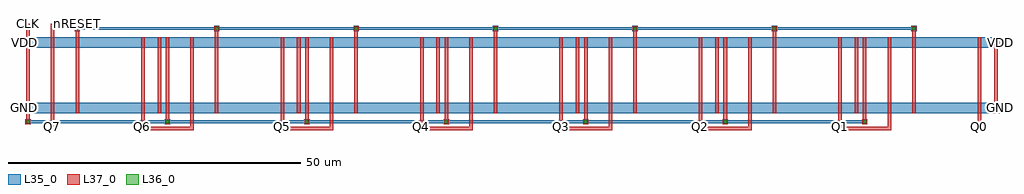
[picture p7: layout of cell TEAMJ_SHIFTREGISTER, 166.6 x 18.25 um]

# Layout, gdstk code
import gdstk
lib = gdstk.Library(unit=1e-6, precision=1e-09)
def R(c, l, rs):  # rectangles x0, y0, x1, y1
    for r in rs: c.add(gdstk.rectangle(r[:2], r[2:], *l))
def A(c, l, x, y, w, h, nx, ny, dx, dy):  # array of equal rectangles
    R(c, l, [(x+i*dx, y+j*dy, x+i*dx+w, y+j*dy+h) for i in range(nx) for j in range(ny)])
L35_0 = (35, 0)
L36_0 = (36, 0)
L37_0 = (37, 0)

via1 = lib.new_cell('VIA1')
R(via1, L35_0, [(-0.45,-0.45,0.45,0.45)])
R(via1, L36_0, [(-0.25,-0.25,0.25,0.25)])
R(via1, L37_0, [(-0.4,-0.4,0.4,0.4)])

dfc1_h = lib.new_cell('DFC1_H')
R(dfc1_h, L35_0, [(0,0,23.8,1.8), (0,11.2,23.8,13)])
dfc1_h.add(gdstk.FlexPath([(23.1,13),(23.1,0)], 0.6, ends="flush", simple_path=True, layer=37, datatype=0))  # L37_0
dfc1_h.add(gdstk.FlexPath([(20.3,0),(20.3,13)], 0.6, ends="flush", simple_path=True, layer=37, datatype=0))  # L37_0
dfc1_h.add(gdstk.FlexPath([(9.1,13),(9.1,0)], 0.6, ends="flush", simple_path=True, layer=37, datatype=0))  # L37_0
dfc1_h.add(gdstk.FlexPath([(4.9,0),(4.9,13)], 0.6, ends="flush", simple_path=True, layer=37, datatype=0))  # L37_0
dfc1_h.add(gdstk.FlexPath([(0.7,0),(0.7,13)], 0.6, ends="flush", simple_path=True, layer=37, datatype=0))  # L37_0
dfc1_h.add(gdstk.Label('DFC1', (11.9,6.5), layer=61, texttype=0))
dfc1_h.add(gdstk.Label('QN', (23.1,0), layer=37, texttype=0))
dfc1_h.add(gdstk.Label('Q', (20.3,0), layer=37, texttype=0))
dfc1_h.add(gdstk.Label('RN', (9.1,0), layer=37, texttype=0))
dfc1_h.add(gdstk.Label('D', (4.9,0), layer=37, texttype=0))
dfc1_h.add(gdstk.Label('C', (0.7,0), layer=37, texttype=0))
dfc1_h.add(gdstk.Label('QN', (23.1,13), layer=37, texttype=0))
dfc1_h.add(gdstk.Label('Q', (20.3,13), layer=37, texttype=0))
dfc1_h.add(gdstk.Label('RN', (9.1,13), layer=37, texttype=0))
dfc1_h.add(gdstk.Label('D', (4.9,13), layer=37, texttype=0))
dfc1_h.add(gdstk.Label('C', (0.7,13), layer=37, texttype=0))
dfc1_h.add(gdstk.Label('gnd', (0,0.9), layer=35, texttype=0))
dfc1_h.add(gdstk.Label('vdd', (0,12.1), layer=35, texttype=0))
dfc1_h.add(gdstk.Label('vdd', (23.8,12.1), layer=35, texttype=0))
dfc1_h.add(gdstk.Label('gnd', (23.8,0.9), layer=35, texttype=0))

teamj_shiftregister = lib.new_cell('TEAMJ_SHIFTREGISTER')
A(teamj_shiftregister, L37_0, -68.3, -8.05, 0.6, 1.05, 7, 1, 23.8, 0)
A(teamj_shiftregister, L37_0, -59.9, 6, 0.6, 1.05, 7, 1, 23.8, 0)
R(teamj_shiftregister, L37_0, [(-64.1,6,-63.5,8.3)])
teamj_shiftregister.add(gdstk.FlexPath([(74.35,-8.45),(51.45,-8.45)], 0.5, ends="flush", simple_path=True, layer=35, datatype=0))  # L35_0
teamj_shiftregister.add(gdstk.FlexPath([(50.55,-8.45),(27.65,-8.45)], 0.5, ends="flush", simple_path=True, layer=35, datatype=0))  # L35_0
teamj_shiftregister.add(gdstk.FlexPath([(26.75,-8.45),(3.85,-8.45)], 0.5, ends="flush", simple_path=True, layer=35, datatype=0))  # L35_0
teamj_shiftregister.add(gdstk.FlexPath([(2.95,-8.45),(-19.95,-8.45)], 0.5, ends="flush", simple_path=True, layer=35, datatype=0))  # L35_0
teamj_shiftregister.add(gdstk.FlexPath([(-20.85,-8.45),(-43.75,-8.45)], 0.5, ends="flush", simple_path=True, layer=35, datatype=0))  # L35_0
teamj_shiftregister.add(gdstk.FlexPath([(-44.65,-8.45),(-67.55,-8.45)], 0.5, ends="flush", simple_path=True, layer=35, datatype=0))  # L35_0
teamj_shiftregister.add(gdstk.FlexPath([(-12.45,7.45),(-35.35,7.45)], 0.5, ends="flush", simple_path=True, layer=35, datatype=0))  # L35_0
teamj_shiftregister.add(gdstk.FlexPath([(-36.25,7.45),(-59.15,7.45)], 0.5, ends="flush", simple_path=True, layer=35, datatype=0))  # L35_0
teamj_shiftregister.add(gdstk.FlexPath([(82.75,7.45),(59.85,7.45)], 0.5, ends="flush", simple_path=True, layer=35, datatype=0))  # L35_0
teamj_shiftregister.add(gdstk.FlexPath([(58.95,7.45),(36.05,7.45)], 0.5, ends="flush", simple_path=True, layer=35, datatype=0))  # L35_0
teamj_shiftregister.add(gdstk.FlexPath([(35.15,7.45),(12.25,7.45)], 0.5, ends="flush", simple_path=True, layer=35, datatype=0))  # L35_0
teamj_shiftregister.add(gdstk.FlexPath([(11.35,7.45),(-11.55,7.45)], 0.5, ends="flush", simple_path=True, layer=35, datatype=0))  # L35_0
teamj_shiftregister.add(gdstk.FlexPath([(-63.8,-9.2),(-63.8,-7)], 0.6, ends="flush", simple_path=True, layer=37, datatype=0))  # L37_0
teamj_shiftregister.add(gdstk.FlexPath([(-48.4,-7),(-48.4,-9.65),(-40,-9.65),(-40,-7)], 0.6, ends="flush", simple_path=True, layer=37, datatype=0))  # L37_0
teamj_shiftregister.add(gdstk.FlexPath([(-24.6,-7),(-24.6,-9.65),(-16.2,-9.65),(-16.2,-7)], 0.6, ends="flush", simple_path=True, layer=37, datatype=0))  # L37_0
teamj_shiftregister.add(gdstk.FlexPath([(-0.8,-7),(-0.8,-9.65),(7.6,-9.65),(7.6,-7)], 0.6, ends="flush", simple_path=True, layer=37, datatype=0))  # L37_0
teamj_shiftregister.add(gdstk.FlexPath([(23,-7),(23,-9.65),(31.4,-9.65),(31.4,-7)], 0.6, ends="flush", simple_path=True, layer=37, datatype=0))  # L37_0
teamj_shiftregister.add(gdstk.FlexPath([(46.8,-7),(46.8,-9.65),(55.2,-9.65),(55.2,-7)], 0.6, ends="flush", simple_path=True, layer=37, datatype=0))  # L37_0
teamj_shiftregister.add(gdstk.FlexPath([(70.6,-7),(70.6,-9.65),(79,-9.65),(79,-7)], 0.6, ends="flush", simple_path=True, layer=37, datatype=0))  # L37_0
teamj_shiftregister.add(gdstk.FlexPath([(-68,8.3),(-68,6)], 0.6, ends="flush", simple_path=True, layer=37, datatype=0))  # L37_0
teamj_shiftregister.add(gdstk.FlexPath([(-59.6,8.3),(-59.6,7.85)], 0.6, ends="flush", simple_path=True, layer=37, datatype=0))  # L37_0
teamj_shiftregister.add(gdstk.FlexPath([(-48.4,-9.2),(-48.4,-7)], 0.6, ends="flush", simple_path=True, layer=37, datatype=0))  # L37_0
teamj_shiftregister.add(gdstk.FlexPath([(-24.6,-9.2),(-24.6,-7)], 0.6, ends="flush", simple_path=True, layer=37, datatype=0))  # L37_0
teamj_shiftregister.add(gdstk.FlexPath([(-0.8,-9.2),(-0.8,-7)], 0.6, ends="flush", simple_path=True, layer=37, datatype=0))  # L37_0
teamj_shiftregister.add(gdstk.FlexPath([(23,-9.2),(23,-7)], 0.6, ends="flush", simple_path=True, layer=37, datatype=0))  # L37_0
teamj_shiftregister.add(gdstk.FlexPath([(46.8,-9.2),(46.8,-7)], 0.6, ends="flush", simple_path=True, layer=37, datatype=0))  # L37_0
teamj_shiftregister.add(gdstk.FlexPath([(70.6,-9.2),(70.6,-7)], 0.6, ends="flush", simple_path=True, layer=37, datatype=0))  # L37_0
teamj_shiftregister.add(gdstk.FlexPath([(94.4,-9.2),(94.4,-7)], 0.6, ends="flush", simple_path=True, layer=37, datatype=0))  # L37_0
teamj_shiftregister.add(gdstk.Reference(via1, (-44.2,-8.45)))
teamj_shiftregister.add(gdstk.Reference(via1, (-20.4,-8.45)))
teamj_shiftregister.add(gdstk.Reference(via1, (27.2,-8.45)))
teamj_shiftregister.add(gdstk.Reference(via1, (51,-8.45)))
teamj_shiftregister.add(gdstk.Reference(via1, (74.8,-8.45)))
teamj_shiftregister.add(gdstk.Reference(via1, (3.4,-8.45)))
teamj_shiftregister.add(gdstk.Reference(via1, (-68,-8.45)))
teamj_shiftregister.add(gdstk.Reference(via1, (83.2,7.45)))
teamj_shiftregister.add(gdstk.Reference(via1, (59.4,7.45)))
teamj_shiftregister.add(gdstk.Reference(via1, (35.6,7.45)))
teamj_shiftregister.add(gdstk.Reference(via1, (11.8,7.45)))
teamj_shiftregister.add(gdstk.Reference(via1, (-12,7.45)))
teamj_shiftregister.add(gdstk.Reference(via1, (-35.8,7.45)))
teamj_shiftregister.add(gdstk.Reference(via1, (-59.6,7.45)))
teamj_shiftregister.add(gdstk.Reference(dfc1_h, (74.1,-7)))
teamj_shiftregister.add(gdstk.Reference(dfc1_h, (50.3,-7)))
teamj_shiftregister.add(gdstk.Reference(dfc1_h, (26.5,-7)))
teamj_shiftregister.add(gdstk.Reference(dfc1_h, (2.7,-7)))
teamj_shiftregister.add(gdstk.Reference(dfc1_h, (-21.1,-7)))
teamj_shiftregister.add(gdstk.Reference(dfc1_h, (-44.9,-7)))
teamj_shiftregister.add(gdstk.Reference(dfc1_h, (-68.7,-7)))
teamj_shiftregister.add(gdstk.Label('VDD', (97.9,5.1), layer=35, texttype=0))
teamj_shiftregister.add(gdstk.Label('GND', (97.9,-6.1), layer=35, texttype=0))
teamj_shiftregister.add(gdstk.Label('GND', (-68.7,-6.1), layer=35, texttype=0))
teamj_shiftregister.add(gdstk.Label('VDD', (-68.7,5.1), layer=35, texttype=0))
teamj_shiftregister.add(gdstk.Label('Q5', (-24.6,-9.2), layer=37, texttype=0))
teamj_shiftregister.add(gdstk.Label('Q4', (-0.8,-9.2), layer=37, texttype=0))
teamj_shiftregister.add(gdstk.Label('Q3', (23,-9.2), layer=37, texttype=0))
teamj_shiftregister.add(gdstk.Label('Q2', (46.8,-9.2), layer=37, texttype=0))
teamj_shiftregister.add(gdstk.Label('Q1', (70.6,-9.2), layer=37, texttype=0))
teamj_shiftregister.add(gdstk.Label('Q0', (94.4,-9.2), layer=37, texttype=0))
teamj_shiftregister.add(gdstk.Label('Q6', (-48.4,-9.2), layer=37, texttype=0))
teamj_shiftregister.add(gdstk.Label('Q7', (-63.8,-9.2), layer=37, texttype=0))
teamj_shiftregister.add(gdstk.Label('nRESET', (-59.6,8.3), layer=37, texttype=0))
teamj_shiftregister.add(gdstk.Label('D', (-63.8,8.3), layer=37, texttype=0))
teamj_shiftregister.add(gdstk.Label('CLK', (-68,8.3), layer=37, texttype=0))

lib.write_gds('TEAMJ_SHIFTREGISTER.gds')
